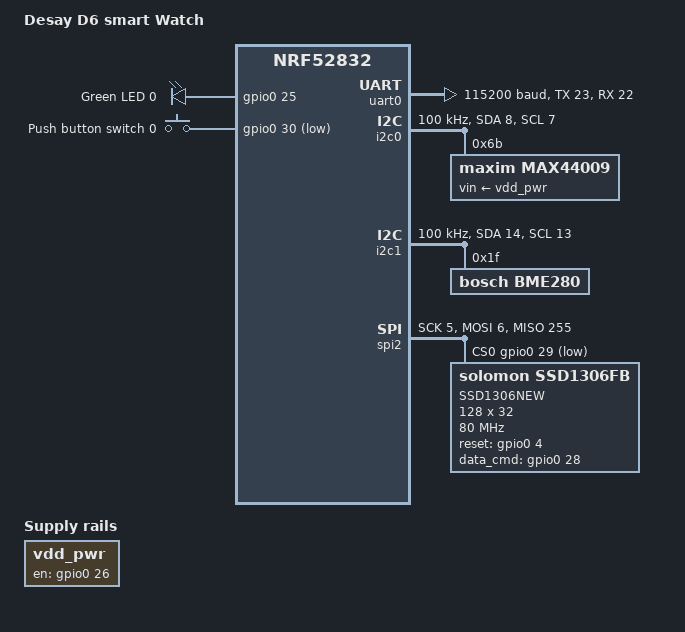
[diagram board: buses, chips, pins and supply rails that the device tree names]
/*
* Copyright (c) 2019 Nordic Semiconductor ASA
*
* SPDX-License-Identifier: LicenseRef-BSD-5-Clause-Nordic
*/

/dts-v1/;
#include <nordic/nrf52832_qfaa.dtsi>

/ {
model = "Desay D6 smart Watch";
compatible = "nordic, nrf52832";

chosen {
	zephyr,console = &uart0;
	zephyr,shell-uart = &uart0;
	zephyr,uart-mcumgr = &uart0;
	zephyr,bt-mon-uart = &uart0;
	zephyr,bt-c2h-uart = &uart0;

	zephyr,sram = &sram0;
	zephyr,flash = &flash0;
	zephyr,code-partition = &slot0_partition;
};
leds    {
	compatible = "gpio-leds";
                led0_green: led_0 {
/*pin 25 is the motor*/
                       gpios = <&gpio0 25 GPIO_ACTIVE_HIGH>; //this is heart rate sensor led
                       label = "Green LED 0";
	//	       default-state = "on";
                };

        };


	buttons {
		compatible = "gpio-keys";
		button0: button_0 {
			gpios = <&gpio0 30 (GPIO_PULL_UP | GPIO_ACTIVE_LOW)>;
			label = "Push button switch 0";
		};
	};

        
        vdd_pwr: vdd-pwr-ctrl {
		compatible = "regulator-fixed";
                label = "vdd-pwr-ctrl";
                regulator-name = "vdd-pwr-ctrl";
                enable-gpios = <&gpio0 26 GPIO_ACTIVE_HIGH>;
                regulator-boot-on;
        };


	aliases {
		sw0 = &button0;
		led0 = &led0_green;
/*		led2 = &led2_blue;
		led0-green = &led0_green;
		led1-red   = &led1_red;
		led2-blue  = &led2_blue;*/
	};

};

&gpiote {
	status = "okay";
};

&gpio0 {
	status = "okay";
};
&uart0 {
	status = "okay";
	compatible = "nordic,nrf-uart";
	current-speed = <115200>;
	tx-pin = <23>;
	rx-pin = <22>;
};

&i2c0 {
	compatible = "nordic,nrf-twi";
	status = "okay";
	sda-pin = <8>;
	scl-pin = <7>;
	clock-frequency = <100000>;
	max44009@6b {
		//power-gpios = <&gpio0 26 1>;
		compatible = "maxim,max44009";
		reg=<0x6b>;
		label="MAX44009";
                vin-supply = <&vdd_pwr>;
	};
};


&i2c1 {
	compatible = "nordic,nrf-twi";
	status = "okay";
	sda-pin = <14>;
	scl-pin = <13>;
	clock-frequency = <100000>;
	BME280@1f {
		compatible = "bosch,bme280";
		reg=<0x1f>;
		label="BME280";
	};
};




&flash0 {
	/*
	 * For more information, see:
	 * http://docs.zephyrproject.org/latest/guides/dts/index.html#flash-partitions
	 */
	partitions {
		compatible = "fixed-partitions";
		#address-cells = <1>;
		#size-cells = <1>;

		boot_partition: partition@0 {
			label = "mcuboot";
			reg = <0x00000000 0x0000C000>;
		};
		slot0_partition: partition@c000 {
			label = "image-0";
			reg = <0x0000C000 0x00032000>;
		};
		slot1_partition: partition@3e000 {
			label = "image-1";
			reg = <0x0003e000 0x00032000>;
		};
		scratch_partition: partition@70000 {
			label = "image-scratch";
			reg = <0x00070000 0x0000a000>;
		};
		storage_partition: partition@7a000 {
			label = "storage";
			reg = <0x0007a000 0x00006000>;
		};
	};
};


&spi2 {
        compatible = "nordic,nrf-spi";
        status = "okay";
        sck-pin = <5>;
        mosi-pin = <6>;
        miso-pin = <0xFF>;
       // cs-gpios = <&gpio0 29 (GPIO_ACTIVE_LOW)>;
        cs-gpios = <&gpio0 29 (GPIO_ACTIVE_LOW)>;
        ssd1306new@0 {
                compatible = "solomon,ssd1306fb";
        	spi-max-frequency = <80000000>; 
                label = "SSD1306NEW";
                reg = <0>;
		segment-offset = <0>;
		page-offset = <0>;
		display-offset = <0>; 
		multiplex-ratio = <31>;
		height = <32>;
		width = <128>;
		segment-remap;
//		com-invdir;
//alternative 0x12		com-sequential;
		prechargep = <0xF1>;
		reset-gpios = <&gpio0 4 0>;
                data_cmd-gpios = <&gpio0 28 0>;
        };
};
